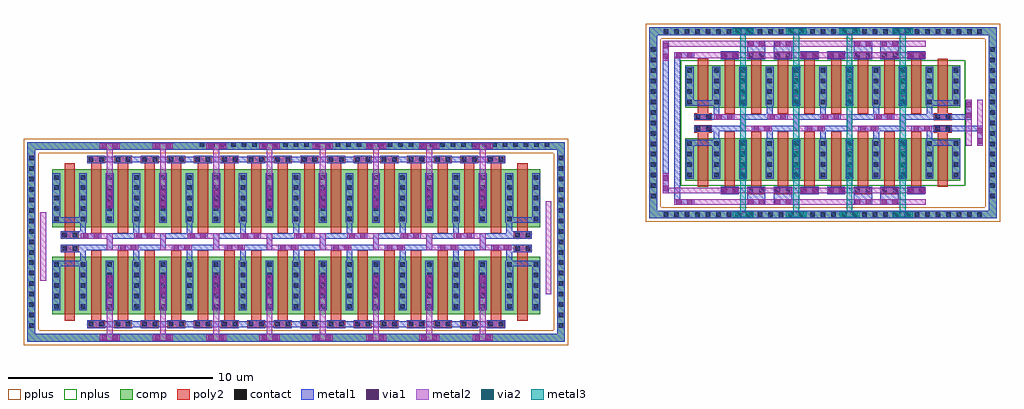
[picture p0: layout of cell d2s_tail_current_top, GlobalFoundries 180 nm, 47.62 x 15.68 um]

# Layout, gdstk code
from math import pi, radians
import gdstk
lib = gdstk.Library(unit=1e-6, precision=5e-09)
def R(c, l, rs):  # rectangles x0, y0, x1, y1
    for r in rs: c.add(gdstk.rectangle(r[:2], r[2:], *l))
def A(c, l, x, y, w, h, nx, ny, dx, dy):  # array of equal rectangles
    R(c, l, [(x+i*dx, y+j*dy, x+i*dx+w, y+j*dy+h) for i in range(nx) for j in range(ny)])
comp = (22, 0)
poly2 = (30, 0)
pplus = (31, 0)
nplus = (32, 0)
contact = (33, 0)
metal1 = (34, 0)
via1 = (35, 0)
metal2 = (36, 0)
via2 = (38, 0)
metal3 = (42, 0)

d2s_tail_current_ncell_1 = lib.new_cell('d2s_tail_current_ncell_1$1$1')
R(d2s_tail_current_ncell_1, comp, [(0,0.3,0.42,3.12), (0.42,0.3,1.3,3.12), (1.3,0.3,1.72,3.12)])
R(d2s_tail_current_ncell_1, poly2, [(0.61,0,1.11,3.42)])
A(d2s_tail_current_ncell_1, contact, 0.1, 0.58, 0.22, 0.22, 1, 5, 0, 0.51)
A(d2s_tail_current_ncell_1, contact, 1.4, 0.58, 0.22, 0.22, 1, 5, 0, 0.51)
R(d2s_tail_current_ncell_1, metal1, [(0.02,0.5,0.4,2.92), (1.32,0.5,1.7,2.92)])

d2s_tail_current_ncell_4 = lib.new_cell('d2s_tail_current_ncell_4$1')
A(d2s_tail_current_ncell_4, poly2, 0.425, 3.42, 0.87, 0.36, 4, 1, 1.3, 0)
R(d2s_tail_current_ncell_4, contact, [(0.495,3.49,0.715,3.71), (1.005,3.49,1.225,3.71), (1.795,3.49,2.015,3.71), (2.305,3.49,2.525,3.71), (3.095,3.49,3.315,3.71), (3.605,3.49,3.825,3.71), (4.395,3.49,4.615,3.71), (4.905,3.49,5.125,3.71)])
A(d2s_tail_current_ncell_4, metal1, 0.415, 3.41, 0.89, 0.38, 4, 1, 1.3, 0)
d2s_tail_current_ncell_4.add(gdstk.Reference(d2s_tail_current_ncell_1, (0,0)))
d2s_tail_current_ncell_4.add(gdstk.Reference(d2s_tail_current_ncell_1, (1.3,0)))
d2s_tail_current_ncell_4.add(gdstk.Reference(d2s_tail_current_ncell_1, (2.6,0)))
d2s_tail_current_ncell_4.add(gdstk.Reference(d2s_tail_current_ncell_1, (3.9,0)))

c_d2s_tail_current_ncell_4 = lib.new_cell('d2s_tail_current_ncell_4_4')
R(c_d2s_tail_current_ncell_4, via1, [(1.12,0.23,1.38,0.49), (1.64,0.23,1.9,0.49), (3.72,0.23,3.98,0.49), (4.24,0.23,4.5,0.49), (1.38,2.52,1.64,2.78), (3.98,2.52,4.24,2.78), (1.38,3.04,1.64,3.3), (3.98,3.04,4.24,3.3), (2.03,4.63,2.29,4.89), (2.55,4.63,2.81,4.89), (4.63,4.63,4.89,4.89), (5.15,4.63,5.41,4.89), (0.21,5.19,0.47,5.45), (0.73,5.19,0.99,5.45), (2.81,5.19,3.07,5.45), (3.33,5.19,3.59,5.45), (1.38,6.78,1.64,7.04), (3.98,6.78,4.24,7.04), (1.38,7.3,1.64,7.56), (3.98,7.3,4.24,7.56), (1.12,9.59,1.38,9.85), (1.64,9.59,1.9,9.85), (3.72,9.59,3.98,9.85), (4.24,9.59,4.5,9.85)])
c_d2s_tail_current_ncell_4.add(gdstk.FlexPath([(1.305,1.02),(5.41,1.02)], 0.28, ends="flush", simple_path=True, layer=34, datatype=0))  # metal1
c_d2s_tail_current_ncell_4.add(gdstk.FlexPath([(2.81,5.96),(2.81,5.46)], 0.28, ends="flush", simple_path=True, layer=34, datatype=0))  # metal1
c_d2s_tail_current_ncell_4.add(gdstk.FlexPath([(0.21,9.72),(5.41,9.72)], 0.38, ends="flush", simple_path=True, layer=34, datatype=0))  # metal1
c_d2s_tail_current_ncell_4.add(gdstk.FlexPath([(2.81,4.12),(2.81,4.62)], 0.28, ends="flush", simple_path=True, layer=34, datatype=0))  # metal1
c_d2s_tail_current_ncell_4.add(gdstk.FlexPath([(0.21,4.12),(0.21,4.62)], 0.28, ends="flush", simple_path=True, layer=34, datatype=0))  # metal1
c_d2s_tail_current_ncell_4.add(gdstk.FlexPath([(0.21,5.96),(0.21,5.46)], 0.28, ends="flush", simple_path=True, layer=34, datatype=0))  # metal1
c_d2s_tail_current_ncell_4.add(gdstk.FlexPath([(2.91,5.32),(1.51,5.32),(1.51,4.76),(0.07,4.76)], 0.28, ends="flush", simple_path=True, layer=34, datatype=0))  # metal1
c_d2s_tail_current_ncell_4.add(gdstk.FlexPath([(1.09,5.32),(0.07,5.32)], 0.28, ends="flush", simple_path=True, layer=34, datatype=0))  # metal1
c_d2s_tail_current_ncell_4.add(gdstk.FlexPath([(5.41,4.12),(5.41,4.62)], 0.28, ends="flush", simple_path=True, layer=34, datatype=0))  # metal1
c_d2s_tail_current_ncell_4.add(gdstk.FlexPath([(5.55,5.32),(4.11,5.32),(4.11,4.76),(2.71,4.76)], 0.28, ends="flush", simple_path=True, layer=34, datatype=0))  # metal1
c_d2s_tail_current_ncell_4.add(gdstk.FlexPath([(3.69,5.32),(2.71,5.32)], 0.28, ends="flush", simple_path=True, layer=34, datatype=0))  # metal1
c_d2s_tail_current_ncell_4.add(gdstk.FlexPath([(5.41,5.96),(5.41,5.46)], 0.28, ends="flush", simple_path=True, layer=34, datatype=0))  # metal1
c_d2s_tail_current_ncell_4.add(gdstk.FlexPath([(2.81,4.12),(2.81,4.62)], 0.28, ends="flush", simple_path=True, layer=34, datatype=0))  # metal1
c_d2s_tail_current_ncell_4.add(gdstk.FlexPath([(5.55,4.76),(4.53,4.76)], 0.28, ends="flush", simple_path=True, layer=34, datatype=0))  # metal1
c_d2s_tail_current_ncell_4.add(gdstk.FlexPath([(2.81,5.96),(2.81,5.46)], 0.28, ends="flush", simple_path=True, layer=34, datatype=0))  # metal1
c_d2s_tail_current_ncell_4.add(gdstk.FlexPath([(2.91,4.76),(1.93,4.76)], 0.28, ends="flush", simple_path=True, layer=34, datatype=0))  # metal1
c_d2s_tail_current_ncell_4.add(gdstk.FlexPath([(1.305,9.06),(5.41,9.06)], 0.28, ends="flush", simple_path=True, layer=34, datatype=0))  # metal1
c_d2s_tail_current_ncell_4.add(gdstk.FlexPath([(0.21,0.36),(5.41,0.36)], 0.38, ends="flush", simple_path=True, layer=34, datatype=0))  # metal1
c_d2s_tail_current_ncell_4.add(gdstk.FlexPath([(0.21,9.72),(5.41,9.72)], 0.38, ends="flush", simple_path=True, layer=22, datatype=0))  # comp
c_d2s_tail_current_ncell_4.add(gdstk.FlexPath([(0.21,0.36),(5.41,0.36)], 0.38, ends="flush", simple_path=True, layer=22, datatype=0))  # comp
c_d2s_tail_current_ncell_4.add(gdstk.FlexPath([(2.91,4.76),(1.51,4.76),(1.51,5.32),(0.11,5.32)], 0.28, ends="flush", simple_path=True, layer=36, datatype=0))  # metal2
c_d2s_tail_current_ncell_4.add(gdstk.FlexPath([(5.51,4.76),(4.11,4.76),(4.11,5.32),(2.71,5.32)], 0.28, ends="flush", simple_path=True, layer=36, datatype=0))  # metal2
c_d2s_tail_current_ncell_4.add(gdstk.FlexPath([(4.11,6.68),(4.11,7.66)], 0.28, ends="flush", simple_path=True, layer=36, datatype=0))  # metal2
c_d2s_tail_current_ncell_4.add(gdstk.FlexPath([(1.51,6.68),(1.51,7.66)], 0.28, ends="flush", simple_path=True, layer=36, datatype=0))  # metal2
c_d2s_tail_current_ncell_4.add(gdstk.FlexPath([(4.11,2.42),(4.11,3.4)], 0.28, ends="flush", simple_path=True, layer=36, datatype=0))  # metal2
c_d2s_tail_current_ncell_4.add(gdstk.FlexPath([(1.51,2.42),(1.51,3.4)], 0.28, ends="flush", simple_path=True, layer=36, datatype=0))  # metal2
c_d2s_tail_current_ncell_4.add(gdstk.FlexPath([(1.02,9.72),(2,9.72)], 0.28, ends="flush", simple_path=True, layer=36, datatype=0))  # metal2
c_d2s_tail_current_ncell_4.add(gdstk.FlexPath([(1.51,7.66),(1.51,9.58)], 0.28, ends="flush", simple_path=True, layer=36, datatype=0))  # metal2
c_d2s_tail_current_ncell_4.add(gdstk.FlexPath([(4.11,7.66),(4.11,9.58)], 0.28, ends="flush", simple_path=True, layer=36, datatype=0))  # metal2
c_d2s_tail_current_ncell_4.add(gdstk.FlexPath([(3.62,9.72),(4.6,9.72)], 0.28, ends="flush", simple_path=True, layer=36, datatype=0))  # metal2
c_d2s_tail_current_ncell_4.add(gdstk.FlexPath([(1.02,0.36),(2,0.36)], 0.28, ends="flush", simple_path=True, layer=36, datatype=0))  # metal2
c_d2s_tail_current_ncell_4.add(gdstk.FlexPath([(1.51,2.42),(1.51,0.5)], 0.28, ends="flush", simple_path=True, layer=36, datatype=0))  # metal2
c_d2s_tail_current_ncell_4.add(gdstk.FlexPath([(4.11,2.42),(4.11,0.5)], 0.28, ends="flush", simple_path=True, layer=36, datatype=0))  # metal2
c_d2s_tail_current_ncell_4.add(gdstk.FlexPath([(3.62,0.36),(4.6,0.36)], 0.28, ends="flush", simple_path=True, layer=36, datatype=0))  # metal2
c_d2s_tail_current_ncell_4.add(gdstk.FlexPath([(0.21,9.72),(5.41,9.72)], 0.72, ends="flush", simple_path=True, layer=31, datatype=0))  # pplus
c_d2s_tail_current_ncell_4.add(gdstk.FlexPath([(0.21,0.36),(5.41,0.36)], 0.72, ends="flush", simple_path=True, layer=31, datatype=0))  # pplus
c_d2s_tail_current_ncell_4.add(gdstk.Reference(d2s_tail_current_ncell_4, (0,5.46)))
c_d2s_tail_current_ncell_4.add(gdstk.Reference(d2s_tail_current_ncell_4, (0,4.62), x_reflection=True))

c_d2s_tail_current_ncell_1 = lib.new_cell('d2s_tail_current_ncell_1')
R(c_d2s_tail_current_ncell_1, comp, [(0,0.3,0.42,3.12), (0.42,0.3,1.3,3.12), (1.3,0.3,1.72,3.12)])
R(c_d2s_tail_current_ncell_1, poly2, [(0.61,0,1.11,3.42)])
A(c_d2s_tail_current_ncell_1, contact, 0.1, 0.58, 0.22, 0.22, 1, 5, 0, 0.51)
A(c_d2s_tail_current_ncell_1, contact, 1.4, 0.58, 0.22, 0.22, 1, 5, 0, 0.51)
R(c_d2s_tail_current_ncell_1, metal1, [(0.02,0.5,0.4,2.92), (1.32,0.5,1.7,2.92)])

delay_stage_ncell_1_1_1_ = lib.new_cell('delay_stage_ncell_1$1$1$1')
R(delay_stage_ncell_1_1_1_, comp, [(0,0.3,0.42,2.38), (0.42,0.3,1.3,2.38), (1.3,0.3,1.72,2.38)])
R(delay_stage_ncell_1_1_1_, poly2, [(0.61,0,1.11,2.68)])
A(delay_stage_ncell_1_1_1_, contact, 0.1, 0.465, 0.22, 0.22, 1, 4, 0, 0.51)
A(delay_stage_ncell_1_1_1_, contact, 1.4, 0.465, 0.22, 0.22, 1, 4, 0, 0.51)
R(delay_stage_ncell_1_1_1_, metal1, [(0.02,0.385,0.4,2.295), (1.32,0.385,1.7,2.295)])

delay_stage_ncell_1_2_1 = lib.new_cell('delay_stage_ncell_1_2$1')
R(delay_stage_ncell_1_2_1, poly2, [(0.425,3.01,1.295,3.37), (0.425,3.61,1.295,3.97)])
R(delay_stage_ncell_1_2_1, contact, [(0.495,3.08,0.715,3.3), (1.005,3.08,1.225,3.3), (0.495,3.68,0.715,3.9), (1.005,3.68,1.225,3.9)])
R(delay_stage_ncell_1_2_1, metal1, [(0.21,3.065,1.295,3.07), (0.21,3.91,1.295,3.915)])
delay_stage_ncell_1_2_1.add(gdstk.FlexPath([(0.4,2.525),(1.32,2.525)], 0.28, ends="flush", simple_path=True, layer=34, datatype=0))  # metal1
delay_stage_ncell_1_2_1.add(gdstk.FlexPath([(1.295,3.21),(0.21,3.21)], 0.28, ends="flush", simple_path=True, layer=34, datatype=0))  # metal1
delay_stage_ncell_1_2_1.add(gdstk.FlexPath([(0.4,4.455),(1.32,4.455)], 0.28, ends="flush", simple_path=True, layer=34, datatype=0))  # metal1
delay_stage_ncell_1_2_1.add(gdstk.FlexPath([(1.295,3.77),(0.21,3.77)], 0.28, ends="flush", simple_path=True, layer=34, datatype=0))  # metal1
delay_stage_ncell_1_2_1.add(gdstk.Reference(delay_stage_ncell_1_1_1_, (0,3.93)))
delay_stage_ncell_1_2_1.add(gdstk.Reference(delay_stage_ncell_1_1_1_, (0,3.05), x_reflection=True))

delay_stage_ncell_1_1_2_ = lib.new_cell('delay_stage_ncell_1$1$2$1')
R(delay_stage_ncell_1_1_2_, comp, [(0,0.3,0.42,2.38), (0.42,0.3,1.3,2.38), (1.3,0.3,1.72,2.38)])
R(delay_stage_ncell_1_1_2_, poly2, [(0.61,0,1.11,2.68)])
A(delay_stage_ncell_1_1_2_, contact, 0.1, 0.465, 0.22, 0.22, 1, 4, 0, 0.51)
A(delay_stage_ncell_1_1_2_, contact, 1.4, 0.465, 0.22, 0.22, 1, 4, 0, 0.51)
R(delay_stage_ncell_1_1_2_, metal1, [(0.02,0.385,0.4,2.295), (1.32,0.385,1.7,2.295)])

delay_stage_ncell_4_1_1 = lib.new_cell('delay_stage_ncell_4$1$1')
A(delay_stage_ncell_4_1_1, poly2, 0.425, 2.675, 0.87, 0.36, 4, 1, 1.3, 0)
R(delay_stage_ncell_4_1_1, contact, [(0.495,2.745,0.715,2.965), (1.005,2.745,1.225,2.965), (1.795,2.745,2.015,2.965), (2.305,2.745,2.525,2.965), (3.095,2.745,3.315,2.965), (3.605,2.745,3.825,2.965), (4.395,2.745,4.615,2.965), (4.905,2.745,5.125,2.965)])
A(delay_stage_ncell_4_1_1, metal1, 0.415, 2.665, 0.89, 0.38, 4, 1, 1.3, 0)
delay_stage_ncell_4_1_1.add(gdstk.Reference(delay_stage_ncell_1_1_2_, (0,-0.005)))
delay_stage_ncell_4_1_1.add(gdstk.Reference(delay_stage_ncell_1_1_2_, (1.3,-0.005)))
delay_stage_ncell_4_1_1.add(gdstk.Reference(delay_stage_ncell_1_1_2_, (2.6,-0.005)))
delay_stage_ncell_4_1_1.add(gdstk.Reference(delay_stage_ncell_1_1_2_, (3.9,-0.005)))

delay_stage_ncell_4_2_1 = lib.new_cell('delay_stage_ncell_4_2$1')
R(delay_stage_ncell_4_2_1, metal1, [(1.715,0,2.605,0.51), (3.015,0,3.905,0.51), (1.715,7.49,2.605,8), (3.015,7.49,3.905,8)])
R(delay_stage_ncell_4_2_1, via1, [(1.77,0.01,2.03,0.27), (2.29,0.01,2.55,0.27), (3.07,0.01,3.33,0.27), (3.59,0.01,3.85,0.27), (0.47,0.57,0.73,0.83), (0.99,0.57,1.25,0.83), (4.37,0.57,4.63,0.83), (4.89,0.57,5.15,0.83), (1.38,1.83,1.64,2.09), (3.98,1.83,4.24,2.09), (1.38,2.35,1.64,2.61), (3.98,2.35,4.24,2.61), (2.03,3.59,2.29,3.85), (2.55,3.59,2.81,3.85), (4.63,3.59,4.89,3.85), (5.15,3.59,5.41,3.85), (0.21,4.15,0.47,4.41), (0.73,4.15,0.99,4.41), (2.81,4.15,3.07,4.41), (3.33,4.15,3.59,4.41), (1.38,5.39,1.64,5.65), (3.98,5.39,4.24,5.65), (1.38,5.91,1.64,6.17), (3.98,5.91,4.24,6.17), (0.47,7.17,0.73,7.43), (0.99,7.17,1.25,7.43), (4.37,7.17,4.63,7.43), (4.89,7.17,5.15,7.43), (1.77,7.73,2.03,7.99), (2.29,7.73,2.55,7.99), (3.07,7.73,3.33,7.99), (3.59,7.73,3.85,7.99)])
R(delay_stage_ncell_4_2_1, via2, [(1.38,1.83,1.64,2.09), (3.98,1.83,4.24,2.09), (1.38,2.35,1.64,2.61), (3.98,2.35,4.24,2.61), (1.38,5.39,1.64,5.65), (3.98,5.39,4.24,5.65), (1.38,5.91,1.64,6.17), (3.98,5.91,4.24,6.17)])
delay_stage_ncell_4_2_1.add(gdstk.FlexPath([(2.81,4.825),(2.81,4.42)], 0.28, ends="flush", simple_path=True, layer=34, datatype=0))  # metal1
delay_stage_ncell_4_2_1.add(gdstk.FlexPath([(2.81,3.175),(2.81,3.58)], 0.28, ends="flush", simple_path=True, layer=34, datatype=0))  # metal1
delay_stage_ncell_4_2_1.add(gdstk.FlexPath([(0.21,3.175),(0.21,3.58)], 0.28, ends="flush", simple_path=True, layer=34, datatype=0))  # metal1
delay_stage_ncell_4_2_1.add(gdstk.FlexPath([(0.21,4.825),(0.21,4.42)], 0.28, ends="flush", simple_path=True, layer=34, datatype=0))  # metal1
delay_stage_ncell_4_2_1.add(gdstk.FlexPath([(2.91,4.28),(1.51,4.28),(1.51,3.72),(0.07,3.72)], 0.28, ends="flush", simple_path=True, layer=34, datatype=0))  # metal1
delay_stage_ncell_4_2_1.add(gdstk.FlexPath([(1.09,4.28),(0.07,4.28)], 0.28, ends="flush", simple_path=True, layer=34, datatype=0))  # metal1
delay_stage_ncell_4_2_1.add(gdstk.FlexPath([(5.41,3.175),(5.41,3.58)], 0.28, ends="flush", simple_path=True, layer=34, datatype=0))  # metal1
delay_stage_ncell_4_2_1.add(gdstk.FlexPath([(5.55,4.28),(4.11,4.28),(4.11,3.72),(2.71,3.72)], 0.28, ends="flush", simple_path=True, layer=34, datatype=0))  # metal1
delay_stage_ncell_4_2_1.add(gdstk.FlexPath([(3.69,4.28),(2.71,4.28)], 0.28, ends="flush", simple_path=True, layer=34, datatype=0))  # metal1
delay_stage_ncell_4_2_1.add(gdstk.FlexPath([(5.41,4.825),(5.41,4.42)], 0.28, ends="flush", simple_path=True, layer=34, datatype=0))  # metal1
delay_stage_ncell_4_2_1.add(gdstk.FlexPath([(2.81,3.175),(2.81,3.58)], 0.28, ends="flush", simple_path=True, layer=34, datatype=0))  # metal1
delay_stage_ncell_4_2_1.add(gdstk.FlexPath([(5.55,3.72),(4.53,3.72)], 0.28, ends="flush", simple_path=True, layer=34, datatype=0))  # metal1
delay_stage_ncell_4_2_1.add(gdstk.FlexPath([(2.81,4.825),(2.81,4.42)], 0.28, ends="flush", simple_path=True, layer=34, datatype=0))  # metal1
delay_stage_ncell_4_2_1.add(gdstk.FlexPath([(2.91,3.72),(1.93,3.72)], 0.28, ends="flush", simple_path=True, layer=34, datatype=0))  # metal1
delay_stage_ncell_4_2_1.add(gdstk.FlexPath([(5.41,7.3),(0.405,7.3)], 0.28, ends="flush", simple_path=True, layer=36, datatype=0))  # metal2
delay_stage_ncell_4_2_1.add(gdstk.FlexPath([(5.41,7.86),(0.405,7.86)], 0.28, ends="flush", simple_path=True, layer=36, datatype=0))  # metal2
delay_stage_ncell_4_2_1.add(gdstk.FlexPath([(5.41,0.7),(0.405,0.7)], 0.28, ends="flush", simple_path=True, layer=36, datatype=0))  # metal2
delay_stage_ncell_4_2_1.add(gdstk.FlexPath([(5.41,0.14),(0.405,0.14)], 0.28, ends="flush", simple_path=True, layer=36, datatype=0))  # metal2
delay_stage_ncell_4_2_1.add(gdstk.FlexPath([(4.11,5.29),(4.11,6.27)], 0.28, ends="flush", simple_path=True, layer=36, datatype=0))  # metal2
delay_stage_ncell_4_2_1.add(gdstk.FlexPath([(1.51,5.29),(1.51,6.27)], 0.28, ends="flush", simple_path=True, layer=36, datatype=0))  # metal2
delay_stage_ncell_4_2_1.add(gdstk.FlexPath([(4.11,1.73),(4.11,2.71)], 0.28, ends="flush", simple_path=True, layer=36, datatype=0))  # metal2
delay_stage_ncell_4_2_1.add(gdstk.FlexPath([(1.51,1.73),(1.51,2.71)], 0.28, ends="flush", simple_path=True, layer=36, datatype=0))  # metal2
delay_stage_ncell_4_2_1.add(gdstk.FlexPath([(2.91,3.72),(1.51,3.72),(1.51,4.28),(0.11,4.28)], 0.28, ends="flush", simple_path=True, layer=36, datatype=0))  # metal2
delay_stage_ncell_4_2_1.add(gdstk.FlexPath([(5.51,3.72),(4.11,3.72),(4.11,4.28),(2.71,4.28)], 0.28, ends="flush", simple_path=True, layer=36, datatype=0))  # metal2
delay_stage_ncell_4_2_1.add(gdstk.FlexPath([(4.11,5.29),(4.11,6.27)], 0.28, ends="flush", simple_path=True, layer=42, datatype=0))  # metal3
delay_stage_ncell_4_2_1.add(gdstk.FlexPath([(1.51,5.29),(1.51,6.27)], 0.28, ends="flush", simple_path=True, layer=42, datatype=0))  # metal3
delay_stage_ncell_4_2_1.add(gdstk.FlexPath([(4.11,1.73),(4.11,2.71)], 0.28, ends="flush", simple_path=True, layer=42, datatype=0))  # metal3
delay_stage_ncell_4_2_1.add(gdstk.FlexPath([(1.51,1.73),(1.51,2.71)], 0.28, ends="flush", simple_path=True, layer=42, datatype=0))  # metal3
delay_stage_ncell_4_2_1.add(gdstk.Reference(delay_stage_ncell_4_1_1, (0,4.445)))
delay_stage_ncell_4_2_1.add(gdstk.Reference(delay_stage_ncell_4_1_1, (0,3.555), x_reflection=True))

d2s_tail_current_top = lib.new_cell('d2s_tail_current_top')
R(d2s_tail_current_top, poly2, [(-0.875,4.53,-0.005,4.89), (21.225,4.53,22.095,4.89), (-0.875,5.19,-0.005,5.55), (21.225,5.19,22.095,5.55)])
R(d2s_tail_current_top, nplus, [(29.365,7.785,43.265,13.905)])
A(d2s_tail_current_top, contact, -2.42, 0.85, 0.22, 0.22, 1, 17, 0, 0.51)
A(d2s_tail_current_top, contact, 23.42, 0.85, 0.22, 0.22, 1, 17, 0, 0.51)
A(d2s_tail_current_top, contact, 28.555, 6.265, 0.22, 0.22, 31, 2, 0.51, 8.94)
A(d2s_tail_current_top, contact, 27.925, 7.165, 0.22, 0.22, 1, 15, 0, 0.51)
A(d2s_tail_current_top, contact, 44.485, 7.165, 0.22, 0.22, 1, 15, 0, 0.51)
A(d2s_tail_current_top, contact, 5.91, 9.69, 0.22, 0.22, 18, 1, 0.51, 0)
R(d2s_tail_current_top, contact, [(-0.805,4.6,-0.585,4.82), (-0.295,4.6,-0.075,4.82), (21.295,4.6,21.515,4.82), (21.805,4.6,22.025,4.82), (-0.805,5.26,-0.585,5.48), (-0.295,5.26,-0.075,5.48), (21.295,5.26,21.515,5.48), (21.805,5.26,22.025,5.48), (14.58,9.69,14.8,9.91), (15.09,9.69,15.31,9.91), (15.09,9.69,15.31,9.91), (15.6,9.69,15.82,9.91), (15.6,9.69,15.82,9.91), (16.11,9.69,16.33,9.91), (16.11,9.69,16.33,9.91), (16.62,9.69,16.84,9.91), (16.62,9.69,16.84,9.91), (17.13,9.69,17.35,9.91), (17.13,9.69,17.35,9.91), (17.64,9.69,17.86,9.91), (17.64,9.69,17.86,9.91), (18.15,9.69,18.37,9.91), (18.15,9.69,18.37,9.91), (18.66,9.69,18.88,9.91), (18.66,9.69,18.88,9.91), (19.17,9.69,19.39,9.91), (19.17,9.69,19.39,9.91), (19.68,9.69,19.9,9.91), (19.68,9.69,19.9,9.91), (20.19,9.69,20.41,9.91), (20.19,9.69,20.41,9.91), (20.7,9.69,20.92,9.91), (20.7,9.69,20.92,9.91), (21.21,9.69,21.43,9.91), (21.21,9.69,21.43,9.91), (21.72,9.69,21.94,9.91), (21.72,9.69,21.94,9.91), (22.23,9.69,22.45,9.91), (22.23,9.69,22.45,9.91), (22.74,9.69,22.96,9.91), (22.74,9.69,22.96,9.91)])
R(d2s_tail_current_top, metal1, [(-0.885,4.52,0.005,4.9), (0.005,4.52,0.07,4.9), (21.15,4.52,21.215,4.9), (21.215,4.52,22.105,4.9), (-0.885,5.18,0.005,5.56), (0.005,5.18,0.07,5.56), (21.15,5.18,21.215,5.56), (21.215,5.18,22.105,5.56)])
R(d2s_tail_current_top, via1, [(32.025,6.245,32.285,6.505), (32.545,6.245,32.805,6.505), (34.625,6.245,34.885,6.505), (35.145,6.245,35.405,6.505), (37.225,6.245,37.485,6.505), (37.745,6.245,38.005,6.505), (39.825,6.245,40.085,6.505), (40.345,6.245,40.605,6.505), (29.165,6.855,29.425,7.115), (29.165,6.855,29.425,7.115), (29.685,6.855,29.945,7.115), (29.685,6.855,29.945,7.115), (28.515,7.505,28.775,7.765), (28.515,7.505,28.775,7.765), (28.515,8.025,28.775,8.285), (28.515,8.025,28.775,8.285), (43.855,9.825,44.115,10.085), (43.855,9.825,44.115,10.085), (43.855,10.345,44.115,10.605), (43.855,10.345,44.115,10.605), (43.295,11.085,43.555,11.345), (43.295,11.085,43.555,11.345), (43.295,11.605,43.555,11.865), (43.295,11.605,43.555,11.865), (28.515,13.965,28.775,14.225), (28.515,13.965,28.775,14.225), (29.165,14.015,29.425,14.275), (29.165,14.015,29.425,14.275), (29.685,14.015,29.945,14.275), (29.685,14.015,29.945,14.275), (28.515,14.485,28.775,14.745), (28.515,14.485,28.775,14.745), (32.025,15.185,32.285,15.445), (32.545,15.185,32.805,15.445), (34.625,15.185,34.885,15.445), (35.145,15.185,35.405,15.445), (37.225,15.185,37.485,15.445), (37.745,15.185,38.005,15.445), (39.825,15.185,40.085,15.445), (40.345,15.185,40.605,15.445)])
R(d2s_tail_current_top, via2, [(32.025,6.245,32.285,6.505), (32.545,6.245,32.805,6.505), (34.625,6.245,34.885,6.505), (35.145,6.245,35.405,6.505), (37.225,6.245,37.485,6.505), (37.745,6.245,38.005,6.505), (39.825,6.245,40.085,6.505), (40.345,6.245,40.605,6.505), (32.025,15.185,32.285,15.445), (32.545,15.185,32.805,15.445), (34.625,15.185,34.885,15.445), (35.145,15.185,35.405,15.445), (37.225,15.185,37.485,15.445), (37.745,15.185,38.005,15.445), (39.825,15.185,40.085,15.445), (40.345,15.185,40.605,15.445)])
d2s_tail_current_top.add(gdstk.FlexPath([(21.01,9.72),(23.53,9.72),(23.53,0.36),(21.01,0.36)], 0.38, ends="flush", simple_path=True, layer=34, datatype=0))  # metal1
d2s_tail_current_top.add(gdstk.FlexPath([(0.21,9.72),(-2.31,9.72),(-2.31,0.36),(0.21,0.36)], 0.38, ends="flush", simple_path=True, layer=34, datatype=0))  # metal1
d2s_tail_current_top.add(gdstk.FlexPath([(44.595,15.505),(44.595,6.375),(28.035,6.375),(28.035,15.315),(44.405,15.315)], 0.38, ends="flush", simple_path=True, layer=34, datatype=0))  # metal1
d2s_tail_current_top.add(gdstk.FlexPath([(41.655,10.565),(43.845,10.565)], 0.28, ends="flush", simple_path=True, layer=34, datatype=0))  # metal1
d2s_tail_current_top.add(gdstk.FlexPath([(41.655,11.125),(43.285,11.125)], 0.28, ends="flush", simple_path=True, layer=34, datatype=0))  # metal1
d2s_tail_current_top.add(gdstk.FlexPath([(43.985,9.725),(43.985,10.705)], 0.28, ends="flush", simple_path=True, layer=34, datatype=0))  # metal1
d2s_tail_current_top.add(gdstk.FlexPath([(43.985,9.725),(43.985,10.705)], 0.28, ends="flush", simple_path=True, layer=34, datatype=0))  # metal1
d2s_tail_current_top.add(gdstk.FlexPath([(43.425,10.985),(43.425,11.965)], 0.28, ends="flush", simple_path=True, layer=34, datatype=0))  # metal1
d2s_tail_current_top.add(gdstk.FlexPath([(43.425,10.985),(43.425,11.965)], 0.28, ends="flush", simple_path=True, layer=34, datatype=0))  # metal1
d2s_tail_current_top.add(gdstk.FlexPath([(28.645,7.405),(28.645,14.845)], 0.28, ends="flush", simple_path=True, layer=34, datatype=0))  # metal1
d2s_tail_current_top.add(gdstk.FlexPath([(29.205,7.125),(29.205,14.285)], 0.28, ends="flush", simple_path=True, layer=34, datatype=0))  # metal1
d2s_tail_current_top.add(gdstk.FlexPath([(28.645,13.865),(28.645,14.845)], 0.28, ends="flush", simple_path=True, layer=34, datatype=0))  # metal1
d2s_tail_current_top.add(gdstk.FlexPath([(29.065,14.145),(30.045,14.145)], 0.28, ends="flush", simple_path=True, layer=34, datatype=0))  # metal1
d2s_tail_current_top.add(gdstk.FlexPath([(29.065,6.985),(30.045,6.985)], 0.28, ends="flush", simple_path=True, layer=34, datatype=0))  # metal1
d2s_tail_current_top.add(gdstk.FlexPath([(28.645,8.385),(28.645,7.405)], 0.28, ends="flush", simple_path=True, layer=34, datatype=0))  # metal1
d2s_tail_current_top.add(gdstk.FlexPath([(10.405,9.06),(10.815,9.06)], 0.28, ends="flush", simple_path=True, layer=34, datatype=0))  # metal1
d2s_tail_current_top.add(gdstk.FlexPath([(10.405,1.02),(10.815,1.02)], 0.28, ends="flush", simple_path=True, layer=34, datatype=0))  # metal1
d2s_tail_current_top.add(gdstk.FlexPath([(22.12,6.1),(21.2,6.1)], 0.28, ends="flush", simple_path=True, layer=34, datatype=0))  # metal1
d2s_tail_current_top.add(gdstk.FlexPath([(22.12,3.98),(21.2,3.98)], 0.28, ends="flush", simple_path=True, layer=34, datatype=0))  # metal1
d2s_tail_current_top.add(gdstk.FlexPath([(-0.9,6.1),(0.02,6.1)], 0.28, ends="flush", simple_path=True, layer=34, datatype=0))  # metal1
d2s_tail_current_top.add(gdstk.FlexPath([(-0.9,3.98),(0.02,3.98)], 0.28, ends="flush", simple_path=True, layer=34, datatype=0))  # metal1
d2s_tail_current_top.add(gdstk.FlexPath([(21.01,9.72),(23.53,9.72),(23.53,0.36),(21.01,0.36)], 0.38, ends="flush", simple_path=True, layer=22, datatype=0))  # comp
d2s_tail_current_top.add(gdstk.FlexPath([(0.21,9.72),(-2.31,9.72),(-2.31,0.36),(0.21,0.36)], 0.38, ends="flush", simple_path=True, layer=22, datatype=0))  # comp
d2s_tail_current_top.add(gdstk.FlexPath([(44.595,15.505),(44.595,6.375),(28.035,6.375),(28.035,15.315),(44.405,15.315)], 0.38, ends="flush", simple_path=True, layer=22, datatype=0))  # comp
d2s_tail_current_top.add(gdstk.FlexPath([(22.92,7.025),(22.92,2.49)], 0.28, ends="flush", simple_path=True, layer=36, datatype=0))  # metal2
d2s_tail_current_top.add(gdstk.FlexPath([(-1.735,6.48),(-1.735,3.13)], 0.28, ends="flush", simple_path=True, layer=36, datatype=0))  # metal2
d2s_tail_current_top.add(gdstk.FlexPath([(43.425,9.725),(43.425,11.965)], 0.28, ends="flush", simple_path=True, layer=36, datatype=0))  # metal2
d2s_tail_current_top.add(gdstk.FlexPath([(43.985,9.725),(43.985,11.965)], 0.28, ends="flush", simple_path=True, layer=36, datatype=0))  # metal2
d2s_tail_current_top.add(gdstk.FlexPath([(39.725,6.375),(40.705,6.375)], 0.28, ends="flush", simple_path=True, layer=36, datatype=0))  # metal2
d2s_tail_current_top.add(gdstk.FlexPath([(39.725,15.315),(40.705,15.315)], 0.28, ends="flush", simple_path=True, layer=36, datatype=0))  # metal2
d2s_tail_current_top.add(gdstk.FlexPath([(37.125,6.375),(38.105,6.375)], 0.28, ends="flush", simple_path=True, layer=36, datatype=0))  # metal2
d2s_tail_current_top.add(gdstk.FlexPath([(37.125,15.315),(38.105,15.315)], 0.28, ends="flush", simple_path=True, layer=36, datatype=0))  # metal2
d2s_tail_current_top.add(gdstk.FlexPath([(34.525,6.375),(35.505,6.375)], 0.28, ends="flush", simple_path=True, layer=36, datatype=0))  # metal2
d2s_tail_current_top.add(gdstk.FlexPath([(34.525,15.315),(35.505,15.315)], 0.28, ends="flush", simple_path=True, layer=36, datatype=0))  # metal2
d2s_tail_current_top.add(gdstk.FlexPath([(31.925,6.375),(32.905,6.375)], 0.28, ends="flush", simple_path=True, layer=36, datatype=0))  # metal2
d2s_tail_current_top.add(gdstk.FlexPath([(31.925,15.315),(32.905,15.315)], 0.28, ends="flush", simple_path=True, layer=36, datatype=0))  # metal2
d2s_tail_current_top.add(gdstk.FlexPath([(31.31,7.545),(28.505,7.545)], 0.28, ends="flush", simple_path=True, layer=36, datatype=0))  # metal2
d2s_tail_current_top.add(gdstk.FlexPath([(31.31,6.985),(30.045,6.985)], 0.28, ends="flush", simple_path=True, layer=36, datatype=0))  # metal2
d2s_tail_current_top.add(gdstk.FlexPath([(31.31,14.145),(29.345,14.145)], 0.28, ends="flush", simple_path=True, layer=36, datatype=0))  # metal2
d2s_tail_current_top.add(gdstk.FlexPath([(31.31,14.705),(28.785,14.705)], 0.28, ends="flush", simple_path=True, layer=36, datatype=0))  # metal2
d2s_tail_current_top.add(gdstk.FlexPath([(28.645,13.865),(28.645,14.845)], 0.28, ends="flush", simple_path=True, layer=36, datatype=0))  # metal2
d2s_tail_current_top.add(gdstk.FlexPath([(29.065,14.145),(30.045,14.145)], 0.28, ends="flush", simple_path=True, layer=36, datatype=0))  # metal2
d2s_tail_current_top.add(gdstk.FlexPath([(29.065,6.985),(30.045,6.985)], 0.28, ends="flush", simple_path=True, layer=36, datatype=0))  # metal2
d2s_tail_current_top.add(gdstk.FlexPath([(28.645,8.385),(28.645,7.405)], 0.28, ends="flush", simple_path=True, layer=36, datatype=0))  # metal2
d2s_tail_current_top.add(gdstk.FlexPath([(21.01,9.72),(23.53,9.72),(23.53,0.36),(21.01,0.36)], 0.72, ends="flush", simple_path=True, layer=31, datatype=0))  # pplus
d2s_tail_current_top.add(gdstk.FlexPath([(0.21,9.72),(-2.31,9.72),(-2.31,0.36),(0.21,0.36)], 0.72, ends="flush", simple_path=True, layer=31, datatype=0))  # pplus
d2s_tail_current_top.add(gdstk.FlexPath([(44.595,15.675),(44.595,6.375),(28.035,6.375),(28.035,15.315),(44.955,15.315)], 0.72, ends="flush", simple_path=True, layer=31, datatype=0))  # pplus
d2s_tail_current_top.add(gdstk.FlexPath([(39.725,6.375),(40.705,6.375)], 0.28, ends="flush", simple_path=True, layer=42, datatype=0))  # metal3
d2s_tail_current_top.add(gdstk.FlexPath([(39.725,15.315),(40.705,15.315)], 0.28, ends="flush", simple_path=True, layer=42, datatype=0))  # metal3
d2s_tail_current_top.add(gdstk.FlexPath([(40.215,15.175),(40.215,6.515)], 0.28, ends="flush", simple_path=True, layer=42, datatype=0))  # metal3
d2s_tail_current_top.add(gdstk.FlexPath([(37.125,6.375),(38.105,6.375)], 0.28, ends="flush", simple_path=True, layer=42, datatype=0))  # metal3
d2s_tail_current_top.add(gdstk.FlexPath([(37.125,15.315),(38.105,15.315)], 0.28, ends="flush", simple_path=True, layer=42, datatype=0))  # metal3
d2s_tail_current_top.add(gdstk.FlexPath([(37.615,15.175),(37.615,6.515)], 0.28, ends="flush", simple_path=True, layer=42, datatype=0))  # metal3
d2s_tail_current_top.add(gdstk.FlexPath([(34.525,6.375),(35.505,6.375)], 0.28, ends="flush", simple_path=True, layer=42, datatype=0))  # metal3
d2s_tail_current_top.add(gdstk.FlexPath([(34.525,15.315),(35.505,15.315)], 0.28, ends="flush", simple_path=True, layer=42, datatype=0))  # metal3
d2s_tail_current_top.add(gdstk.FlexPath([(35.015,15.175),(35.015,6.515)], 0.28, ends="flush", simple_path=True, layer=42, datatype=0))  # metal3
d2s_tail_current_top.add(gdstk.FlexPath([(31.925,6.375),(32.905,6.375)], 0.28, ends="flush", simple_path=True, layer=42, datatype=0))  # metal3
d2s_tail_current_top.add(gdstk.FlexPath([(31.925,15.315),(32.905,15.315)], 0.28, ends="flush", simple_path=True, layer=42, datatype=0))  # metal3
d2s_tail_current_top.add(gdstk.FlexPath([(32.415,15.175),(32.415,6.515)], 0.28, ends="flush", simple_path=True, layer=42, datatype=0))  # metal3
d2s_tail_current_top.add(gdstk.Reference(c_d2s_tail_current_ncell_4, (10.82,10.08), rotation=pi))
d2s_tail_current_top.add(gdstk.Reference(c_d2s_tail_current_ncell_1, (20.8,5.46)))
d2s_tail_current_top.add(gdstk.Reference(c_d2s_tail_current_ncell_1, (20.8,1.2)))
d2s_tail_current_top.add(gdstk.Reference(c_d2s_tail_current_ncell_1, (0.42,5.46), rotation=pi, x_reflection=True))
d2s_tail_current_top.add(gdstk.Reference(c_d2s_tail_current_ncell_1, (0.42,1.2), rotation=pi, x_reflection=True))
d2s_tail_current_top.add(gdstk.Reference(c_d2s_tail_current_ncell_4, (21.22,10.08), rotation=pi))
d2s_tail_current_top.add(gdstk.Reference(c_d2s_tail_current_ncell_4, (10.4,0)))
d2s_tail_current_top.add(gdstk.Reference(c_d2s_tail_current_ncell_4, (0,0)))
d2s_tail_current_top.add(gdstk.Reference(delay_stage_ncell_1_2_1, (41.305,7.355)))
d2s_tail_current_top.add(gdstk.Reference(delay_stage_ncell_1_2_1, (31.325,7.355), rotation=pi, x_reflection=True))
d2s_tail_current_top.add(gdstk.Reference(delay_stage_ncell_4_2_1, (30.905,6.845)))
d2s_tail_current_top.add(gdstk.Reference(delay_stage_ncell_4_2_1, (41.725,14.845), rotation=pi))

lib.write_gds('d2s_tail_current_top.gds')
